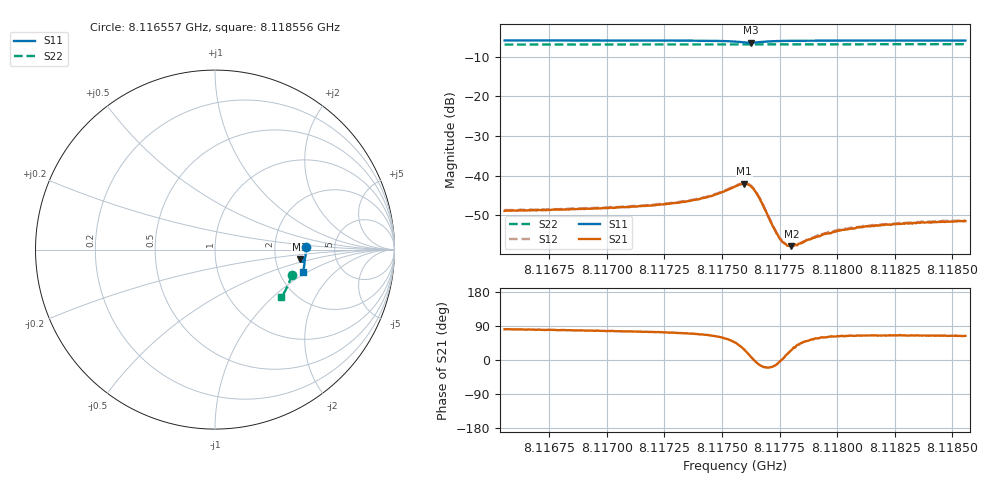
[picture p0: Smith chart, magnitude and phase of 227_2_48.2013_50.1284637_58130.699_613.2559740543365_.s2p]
#  HZ  S  RI  R  50.00
! Rohde & Schwarz Vector Network Analyzer
! Rohde-Schwarz,ZNB20-2Port,1311601062101988,3.16
! Created: UTC 3/20/2024, 11:46:11 AM
! freq[Hz]  re:S11  im:S11  re:S21  im:S21  re:S12  im:S12  re:S22  im:S22
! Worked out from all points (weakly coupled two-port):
!   401 points, 8.116557 GHz to 8.118556 GHz, reference 50 ohm
!   highest |S21| = -41.99 dB at 8.117597 GHz (marker M1); lowest = -57.7 dB at 8.117801 GHz (marker M2)
!   lowest |S11| = -6.5 dB at 8.117626 GHz (marker M3), VSWR 2.81, Z = 137 - j19.5 ohm
!   |S11| at or under -10 dB: nowhere
!   |S22| runs from -6.9 to -6.8 dB; largest |S21 - S12| = 0.00021
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8.116557e9  0.5066 0.0168  0.000559 0.00357  0.000636 0.00364  0.4275 -0.1395
8.1168919e9  0.5062 -0.00898  0.000795 0.00374  0.000872 0.00378  0.4207 -0.1619
8.1172267e9  0.5039 -0.0359  0.00121 0.00414  0.00129 0.0042  0.4125 -0.1838
8.1173466e9  0.5021 -0.0465  0.00158 0.00447  0.00168 0.00453  0.4094 -0.1916
8.1174166e9  0.5001 -0.0534  0.00202 0.00483  0.00212 0.00485  0.4074 -0.1962
8.1174916e9  0.4955 -0.0618  0.00299 0.00528  0.00313 0.00533  0.4049 -0.201
8.1175565e9  0.4855 -0.068  0.00507 0.00527  0.00521 0.00536  0.4026 -0.2051
8.1175965e9  0.475 -0.0651  0.00705 0.00368  0.0072 0.00366  0.401 -0.2074
8.1176265e9  0.4719 -0.055  0.00728 0.000981  0.00743 0.000946  0.4004 -0.2085
8.1176415e9  0.4744 -0.0501  0.00654 -0.00021  0.00665 -0.000296  0.4001 -0.2094
8.1176615e9  0.48 -0.0465  0.00515 -0.00112  0.00523 -0.0012  0.3997 -0.2105
8.1177264e9  0.4939 -0.0516  0.00207 -0.000569  0.0021 -0.000577  0.3984 -0.2148
8.1177514e9  0.4962 -0.0553  0.0016 -0.00011  0.00164 -0.000115  0.3977 -0.2163
8.1177714e9  0.4972 -0.058  0.00139 0.000182  0.0014 0.000185  0.3972 -0.2176
8.1178014e9  0.4983 -0.0618  0.00117 0.000566  0.00119 0.00058  0.3963 -0.2196
8.1178464e9  0.4989 -0.067  0.00102 0.00101  0.00102 0.000987  0.3949 -0.2224
8.1178914e9  0.4989 -0.0717  0.000931 0.00132  0.000964 0.00135  0.3935 -0.2254
8.1179463e9  0.4985 -0.0768  0.000953 0.00161  0.000955 0.0016  0.3917 -0.2289
8.1180163e9  0.4978 -0.083  0.000918 0.00184  0.000968 0.00187  0.3894 -0.2332
8.1181213e9  0.4965 -0.0918  0.000991 0.00207  0.001 0.00211  0.3859 -0.2397
8.1182262e9  0.4949 -0.1001  0.00102 0.00222  0.00106 0.00227  0.3822 -0.2462
8.118556e9  0.4892 -0.1249  0.00119 0.0024  0.00125 0.00245  0.3698 -0.2657
